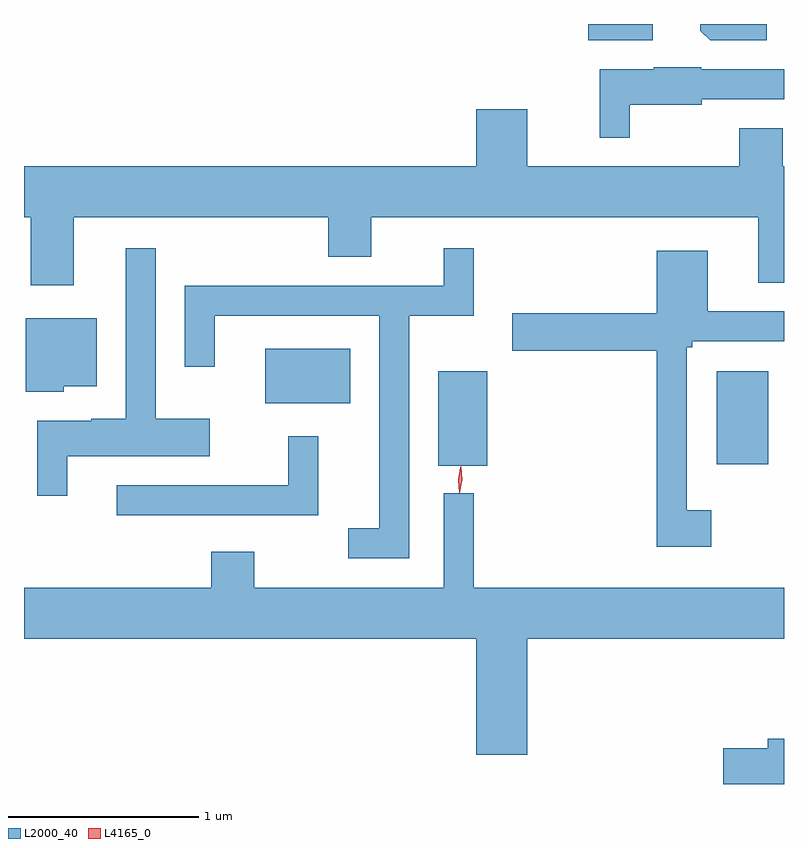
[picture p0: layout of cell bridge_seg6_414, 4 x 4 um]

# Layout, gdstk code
import gdstk
lib = gdstk.Library(unit=1e-6, precision=1e-09)
def R(c, l, rs):  # rectangles x0, y0, x1, y1
    for r in rs: c.add(gdstk.rectangle(r[:2], r[2:], *l))
def P(c, l, *ps):  # polygons
    for p in ps: c.add(gdstk.Polygon(p, *l))
L2000_40 = (2000, 40)
L4165_0 = (4165, 0)

bridge_seg6_414 = lib.new_cell('bridge_seg6_414')
R(bridge_seg6_414, L2000_40, [(974.116,1604.226,974.374,1604.724), (975.581,1604.236,975.854,1604.724), (973.206,1604.556,973.654,1604.844), (974.906,1606.466,975.244,1606.552)])
P(bridge_seg6_414, L2000_40, [(975.844,1606.552),(975.496,1606.552),(975.496,1606.517),(975.547,1606.466),(975.844,1606.466)],
  [(975.124,1606.126),(975.504,1606.126),(975.504,1606.156),(975.936,1606.156),(975.936,1606.314),(975.5,1606.314),(975.5,1606.324),(975.25,1606.324),(975.25,1606.314),(974.966,1606.314),(974.966,1605.953),(975.124,1605.953)],
  [(972.199,1605.536),(973.536,1605.536),(973.536,1605.326),(973.764,1605.326),(973.764,1605.536),(975.801,1605.536),(975.801,1605.191),(975.936,1605.191),(975.936,1605.804),(975.929,1605.804),(975.929,1606.004),(975.701,1606.004),(975.701,1605.804),(974.584,1605.804),(974.584,1606.104),(974.316,1606.104),(974.316,1605.804),(971.936,1605.804),(971.936,1605.536),(971.971,1605.536),(971.971,1605.176),(972.199,1605.176)],
  [(973.964,1605.016),(974.304,1605.016),(974.304,1605.373),(974.146,1605.373),(974.146,1605.174),(972.781,1605.174),(972.781,1604.748),(972.939,1604.748),(972.939,1605.016),(973.806,1605.016),(973.806,1603.899),(973.643,1603.899),(973.643,1603.741),(973.964,1603.741)],
  [(972.164,1604.276),(972.914,1604.276),(972.914,1604.474),(972.629,1604.474),(972.629,1605.373),(972.471,1605.373),(972.471,1604.474),(972.29,1604.474),(972.29,1604.464),(972.006,1604.464),(972.006,1604.068),(972.164,1604.068)],
  [(975.554,1603.994),(975.424,1603.994),(975.424,1604.851),(975.454,1604.851),(975.454,1604.881),(975.936,1604.881),(975.936,1605.039),(975.534,1605.039),(975.534,1605.359),(975.266,1605.359),(975.266,1605.029),(974.506,1605.029),(974.506,1604.831),(975.266,1604.831),(975.266,1603.801),(975.554,1603.801)],
  [(972.144,1604.646),(972.319,1604.646),(972.319,1605.004),(971.946,1605.004),(971.946,1604.616),(972.144,1604.616)],
  [(973.484,1604.383),(973.326,1604.383),(973.326,1604.124),(972.423,1604.124),(972.423,1603.966),(973.484,1603.966)],
  [(974.584,1603.316),(975.936,1603.316),(975.936,1603.584),(974.304,1603.584),(974.304,1604.083),(974.146,1604.083),(974.146,1603.584),(973.149,1603.584),(973.149,1603.774),(972.921,1603.774),(972.921,1603.584),(971.936,1603.584),(971.936,1603.316),(974.316,1603.316),(974.316,1602.706),(974.584,1602.706)],
  [(975.936,1602.789),(975.851,1602.789),(975.851,1602.739),(975.616,1602.739),(975.616,1602.552),(975.936,1602.552)])
P(bridge_seg6_414, L4165_0, [(974.228,1604.085),(974.228,1604.085),(974.222,1604.154),(974.235,1604.222),(974.236,1604.222),(974.236,1604.222),(974.242,1604.153),(974.229,1604.085)],
  [(974.228,1604.088),(974.228,1604.088),(974.221,1604.154),(974.233,1604.219),(974.233,1604.219),(974.234,1604.219),(974.241,1604.153),(974.229,1604.088)])

lib.write_gds('bridge_seg6_414.gds')
